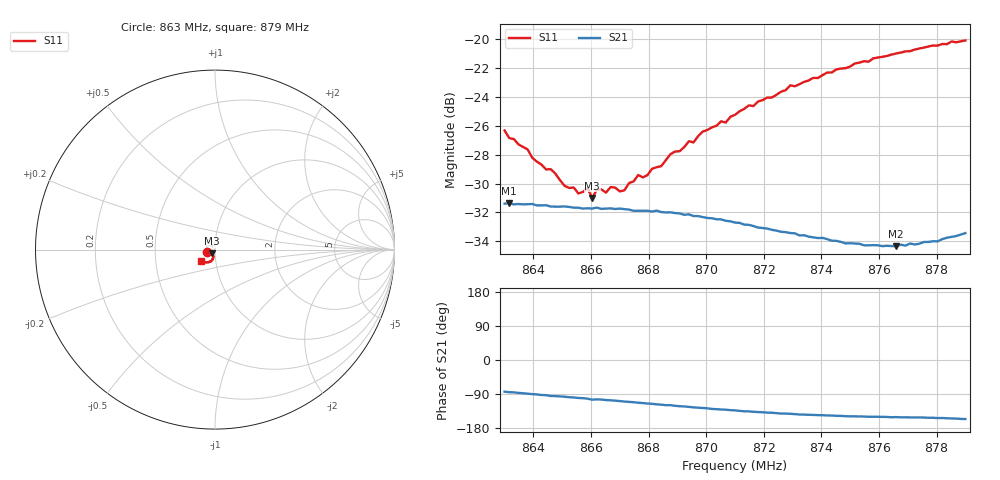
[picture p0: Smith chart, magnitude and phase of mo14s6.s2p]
# HZ S RI R 50
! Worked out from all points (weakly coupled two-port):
!   101 points, 863 MHz to 879 MHz, reference 50 ohm
!   highest |S21| = -31.38 dB at 863.16 MHz (marker M1); lowest = -34.3 dB at 876.6 MHz (marker M2)
!   lowest |S11| = -31.0 dB at 866.04 MHz (marker M3), VSWR 1.06, Z = 48.1 - j2.01 ohm
!   |S11| at or under -10 dB: start of sweep to end of sweep
!   S12 and S22 are empty: the file has one direction only
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8.63e8  -0.0457 -0.0157  0.00299 -0.0268  0 0  0 0
8.6316e8  -0.0421 -0.017  0.00238 -0.0269  0 0  0 0
8.638e8  -0.0384 -0.0157  0.000566 -0.0268  0 0  0 0
8.6444e8  -0.0319 -0.0153  -0.00132 -0.0266  0 0  0 0
8.646e8  -0.0314 -0.0165  -0.00225 -0.0262  0 0  0 0
8.6508e8  -0.0251 -0.0182  -0.00312 -0.0262  0 0  0 0
8.6572e8  -0.0217 -0.0201  -0.00482 -0.0254  0 0  0 0
8.6588e8  -0.0222 -0.0209  -0.00542 -0.0254  0 0  0 0
8.6604e8  -0.0189 -0.0209  -0.00656 -0.0251  0 0  0 0
8.662e8  -0.0206 -0.0219  -0.00628 -0.0253  0 0  0 0
8.6716e8  -0.0135 -0.0267  -0.00869 -0.0243  0 0  0 0
8.6764e8  -0.0132 -0.0312  -0.00982 -0.0235  0 0  0 0
8.678e8  -0.0115 -0.0312  -0.0102 -0.0233  0 0  0 0
8.6844e8  -0.0108 -0.0347  -0.0118 -0.0223  0 0  0 0
8.694e8  -0.0109 -0.043  -0.0137 -0.0206  0 0  0 0
8.6956e8  -0.0101 -0.0427  -0.014 -0.02  0 0  0 0
8.6988e8  -0.0103 -0.0467  -0.0144 -0.0194  0 0  0 0
8.71e8  -0.0133 -0.0531  -0.0158 -0.0169  0 0  0 0
8.7372e8  -0.028 -0.068  -0.0169 -0.0118  0 0  0 0
8.7644e8  -0.0533 -0.0707  -0.0168 -0.00927  0 0  0 0
8.766e8  -0.0544 -0.0708  -0.0167 -0.0094  0 0  0 0
8.79e8  -0.0777 -0.0614  -0.0194 -0.00869  0 0  0 0
